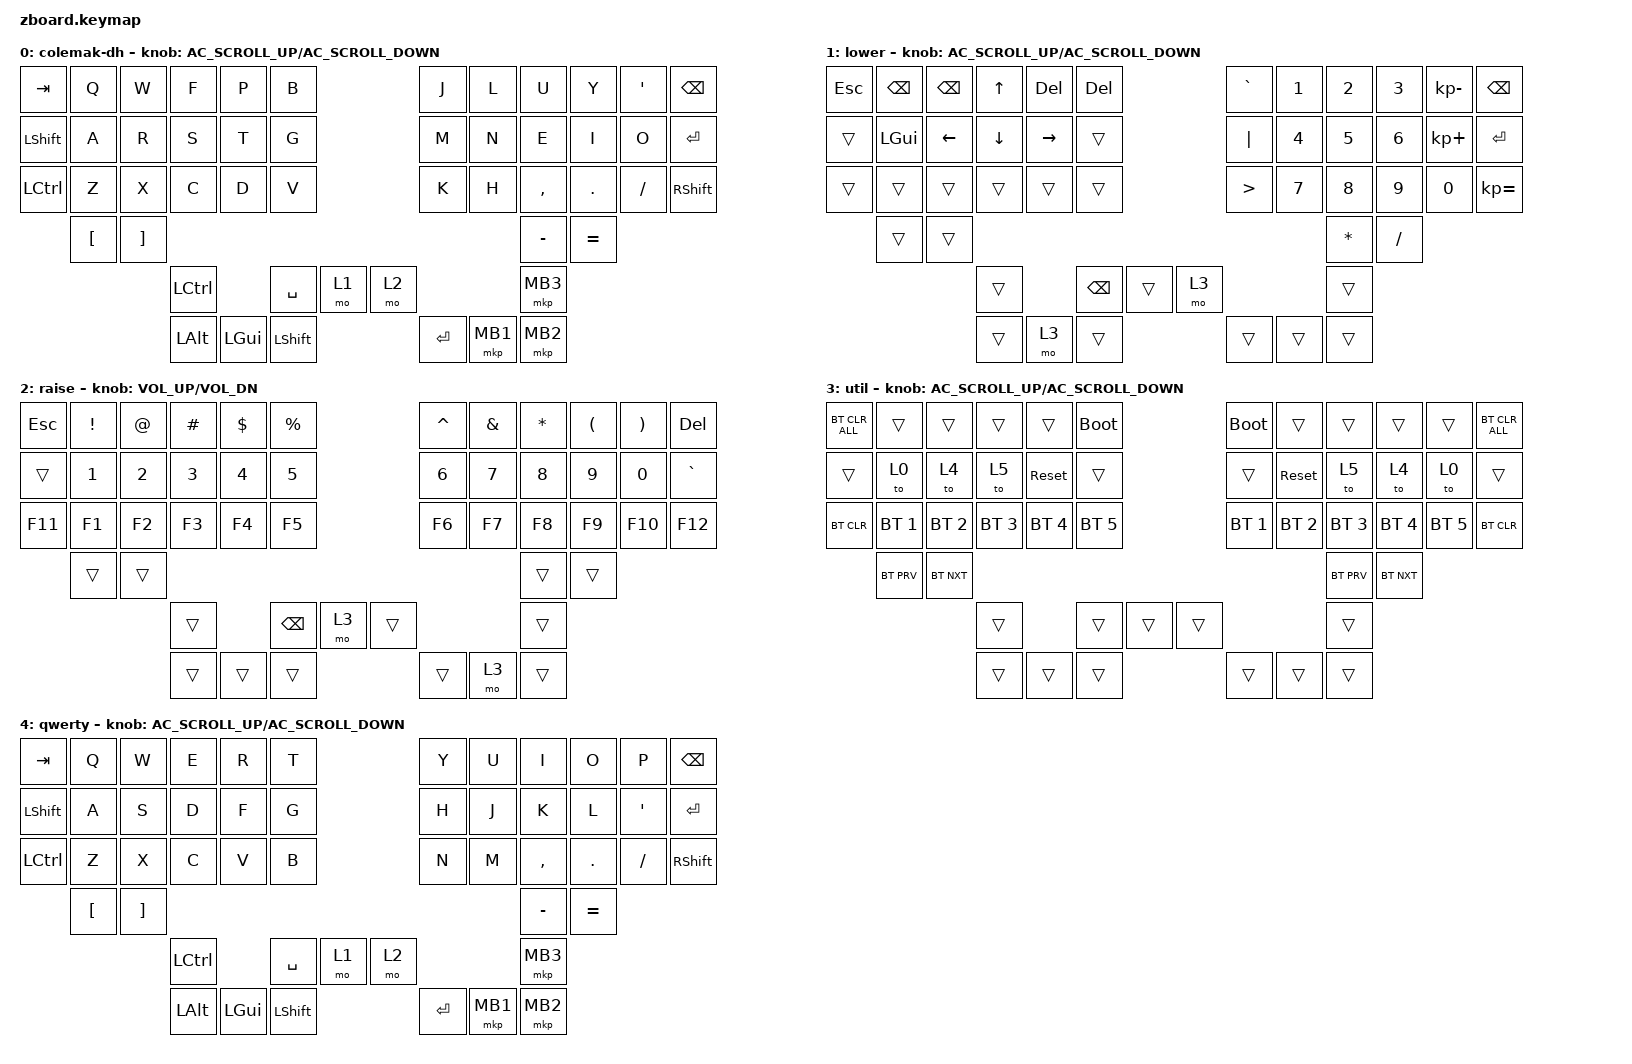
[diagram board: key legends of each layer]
/*
 * Copyright (c) 2020 The ZMK Contributors
 *
 * SPDX-License-Identifier: MIT
 */

#include <behaviors.dtsi>
#include <dt-bindings/zmk/bt.h>
#include <dt-bindings/zmk/keys.h>
#include <dt-bindings/zmk/rgb.h>
#include <dt-bindings/zmk/mouse.h>

/ {
    keymap {
        compatible = "zmk,keymap";

		colemak-dh {
		// ------------------------------------------------------------------------------------------------------------
		// |  TAB  |  Q  |  W  |  F   |  P   |  B   |                   |  J   |  L    |  U   |  Y   |   '   | BSPC |
		// |  SHFT |  A  |  R  |  S   |  T   |  G   |                   |  M   |  N    |  E   |  I   |   O   | ENTR |
		// |  CTRL |  Z  |  X  |  C   |  D   |  V   |   				|  K   |  H    |  ,   |  .   |   /   | SHFT |
		// 				 |  [  |  ]   | 											   |  -   |  =   |
		//                     		  | CTRL | SPC  | LOWER|  		|RAISE |   	  |  MB3 |
		//                     		  | ALT  | GUI  | SHFT |  		| ENT  |  MB1 |  MB2 |
					bindings = <
		&kp TAB   &kp Q  &kp W  &kp F    &kp P    &kp B                      &kp J  &kp L    &kp U     &kp Y   &kp SQT  &kp BSPC
		&kp LSHFT &kp A  &kp R  &kp S    &kp T    &kp G                      &kp M  &kp N    &kp E     &kp I   &kp O    &kp ENTER
		&kp LCTRL &kp Z  &kp X  &kp C    &kp D    &kp V  					 &kp K  &kp H    &kp COMMA &kp DOT &kp FSLH &kp RSHFT
					&kp LBKT   &kp RBKT														&kp MINUS   &kp EQUAL
									&kp LCTRL &kp SPACE &mo 1  		&mo 2  				 &mkp MB3  
									&kp LALT  &kp LGUI  &kp LSHFT 	&kp ENTER  &mkp MB1  &mkp MB2 
            >;

            sensor-bindings = <&inc_dec_kp C_AC_SCROLL_UP C_AC_SCROLL_DOWN>;
        };
		
        lower {
		// ------------------------------------------------------------------------------------------------------------
		// |  ESC  | BSPC |BSPC |  Up  |  DEL | DEL  |                   |  `   |  1  |  2  |  3  |  -  | BSPC |
		// |  SHFT | LGUI |Left | Down | Right|  G   |                   |  |   |  4  |  5  |  6  |  +  | ENTR |
		// |  CTRL |  Z   |  X  |  C   |  V   |  B   |   				 |  >   |  7  |  8  |  9  |  0  |  =   |
		// 				 |  [  |  ]   | 											   |  *   |  /   |
		//                     		  | CTRL | BSPC | LOWER|  		| Util |   	  |  MB3 |
		//                     		  | ALT  | UTIL | SHFT |  		| ENT  |  MB1 |  MB2 |
					bindings = <
		&kp ESC   &kp BSPC &kp BSPC &kp UP   &kp DEL   &kp DEL 			&kp GRAVE &kp N1   &kp N2    &kp N3  &kp KP_MINUS  &kp BSPC
		&trans    &kp LGUI &kp LEFT &kp DOWN &kp RIGHT &trans 			&kp PIPE  &kp N4   &kp N5    &kp N6  &kp KP_PLUS   &kp ENTER
		&trans    &trans &trans   &trans   &trans    &trans 			&kp GT    &kp N7   &kp N8    &kp N9  &kp N0 	   &kp KP_EQUAL
					&trans   &trans													&kp ASTRK   &kp FSLH
									&trans    &kp BSPC  &trans 		&mo 3   			 &trans     
									&trans    &mo 3     &trans     	&trans     &trans    &trans    
            >; 

            sensor-bindings = <&inc_dec_kp C_AC_SCROLL_UP C_AC_SCROLL_DOWN>;
        };

        raise {
		// ------------------------------------------------------------------------------------------------------------
		// |  ESC  |  !  |  @  |  #   |  $   |  %   |                   |  ^   |  &    |  *   |  (   |   )   |  DEL |
		// |   ~   |  1  |  2  |  3   |  4   |  5   |                   |  6   |  7    |  8   |  9   |   0   |   `  |
		// |   F11 | F1  |  F2 |  F3  |  F4  |  F5  |                   |  F6  |  F7  |  F8   |  F9  |  F10  | F12  |
		// 				 |  [  |  ]   | 											   |  -   |  =   |
		//                     		  | CTRL | BSPC | Util |  		|RAISE |   	  |  MB3 |
		//                     		  | ALT  | GUI  | SHFT |  		| ENT  | Util |  MB2 |
					bindings = <
		&kp ESC   &kp EXCL  &kp AT   &kp HASH &kp DOLLAR &kp PRCNT                  &kp CARET &kp AMPS  &kp ASTRK &kp LPAR  &kp RPAR  &kp DEL
		&trans    &kp N1    &kp N2   &kp N3   &kp N4     &kp N5                     &kp N6    &kp N7    &kp N8    &kp N9    &kp N0    &kp GRAVE 
		&kp F11   &kp F1    &kp F2   &kp F3   &kp F4     &kp F5                     &kp F6    &kp F7    &kp F8    &kp F9    &kp F10   &kp F12
					&trans   &trans														&trans   &trans
									&trans    &kp BSPC  &mo 3 		&trans 				 &trans     
									&trans    &trans    &trans     	&trans     &mo 3     &trans    
            >; 

            sensor-bindings = <&inc_dec_kp C_VOL_UP C_VOL_DN>;
        };
		
		util {
		// ------------------------------------------------------------------------------------------------------------
		// |  BTCA |  Q  |  W  |  E   |  R   | Boot |                   | Boot |  U    |  I  |   O  |   P   | BTCA |
		// |  SHFT | Base| Game| NUM  | Reset|  G   |                   |  H   | Reset | NUM | Game |  Base | ENTR |
		// |  BTC  | BT1 | BT2 | BT3  | BT4  |  BT5 |   				|  BT1 |  BT2  | BT3 |  BT4 |  BT5  | BTC  |
		// 				 | BTP | BTN  | 											   | BTP |  BTN |
		//                     		  | CTRL | BSPC | LOWER|  		|RAISE |   	  |  MB3 |
		//                     		  | ALT  | GUI  | SHFT |  		| ENT  |  MB1 |  MB2 |
					bindings = <
		&bt BT_CLR_ALL &trans &trans &trans &trans &bootloader		&bootloader  &trans   &trans   &trans  &trans &bt BT_CLR_ALL
		&trans    &to 0 &to 4 &to 5 &sys_reset &trans 			    &trans &sys_reset   &to 5   &to 4  &to 0 &trans 
		&bt BT_CLR &bt BT_SEL 1 &bt BT_SEL 2 &bt BT_SEL 3 &bt BT_SEL 4 &bt BT_SEL 5 		&bt BT_SEL 1 &bt BT_SEL 2 &bt BT_SEL 3 &bt BT_SEL 4 &bt BT_SEL 5 &bt BT_CLR
					&bt BT_PRV   &bt BT_NXT													&bt BT_PRV   &bt BT_NXT	
									&trans    &trans    &trans		&trans 				 &trans     
									&trans    &trans    &trans     	&trans     &trans    &trans    
            >; 

            sensor-bindings = <&inc_dec_kp C_AC_SCROLL_UP C_AC_SCROLL_DOWN>;
        };
		
        qwerty {
		// ------------------------------------------------------------------------------------------------------------
		// |  TAB  |  Q  |  W  |  E   |  R   |  T   |                   |  Y   |  U    |  I   |  O   |   P   | BSPC |
		// |  SHFT |  A  |  S  |  D   |  F   |  G   |                   |  H   |  J    |  K   |  L   |   '   | ENTR |
		// |  CTRL |  Z  |  X  |  C   |  V   |  B   |   				|  N   |  M    |  ,   |  .   |   /   | SHFT |
		// 				 |  [  |  ]   | 											   |  -   |  =   |
		//                     		  | CTRL | SPC  | LOWER|  		|RAISE |   	  |  MB3 |
		//                     		  | ALT  | GUI  | SHFT |  		| ENT  |  MB1 |  MB2 |
					bindings = <
		&kp TAB   &kp Q  &kp W  &kp E    &kp R    &kp T                      &kp Y  &kp U    &kp I     &kp O   &kp P    &kp BSPC
		&kp LSHFT &kp A  &kp S  &kp D    &kp F    &kp G                      &kp H  &kp J    &kp K     &kp L   &kp SQT  &kp ENTER
		&kp LCTRL &kp Z  &kp X  &kp C    &kp V    &kp B  					 &kp N  &kp M    &kp COMMA &kp DOT &kp FSLH &kp RSHFT
					&kp LBKT   &kp RBKT														&kp MINUS   &kp EQUAL
									&kp LCTRL &kp SPACE &mo 1  		&mo 2  				 &mkp MB3  
									&kp LALT  &kp LGUI  &kp LSHFT 	&kp ENTER  &mkp MB1  &mkp MB2 
            >;

            sensor-bindings = <&inc_dec_kp C_AC_SCROLL_UP C_AC_SCROLL_DOWN>;
        };


    };
};
